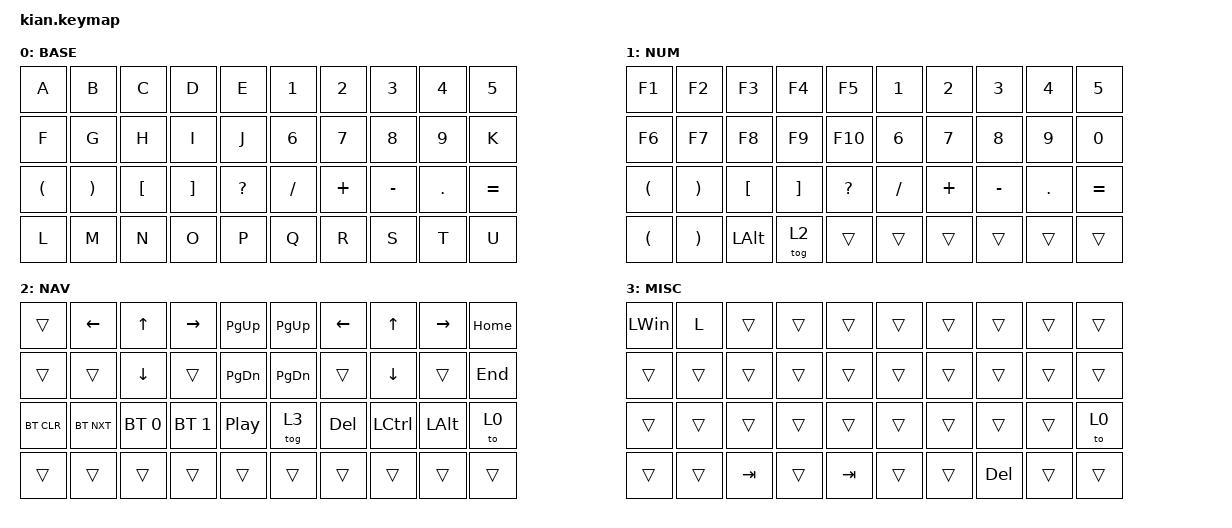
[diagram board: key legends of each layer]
/*
 * Copyright (c) 2020 The ZMK Contributors
 *
 * SPDX-License-Identifier: MIT
 */

#include <behaviors.dtsi>
#include <dt-bindings/zmk/keys.h>
#include <dt-bindings/zmk/bt.h>

#define HOST_OS 2



#define DEFAULT 0
#define NUM     1
#define NAV     2
#define MISC    3




&mt {
    tapping-term-ms = <150>;
    flavor = "tap-preferred";
    };


/ {
    behaviors {
        hm: homerow_mods {
            compatible = "zmk,behavior-hold-tap";
            label = "homerow mods";
            #binding-cells = <2>;
            tapping_term_ms = <200>;
            quick-tap-ms = <0>;
            flavor = "tap-preferred";
            bindings = <&kp>, <&kp>;
            };
        
        ht_hp: ht_hp_mods {
            compatible = "zmk,behavior-hold-tap";
            label = "HT_HP";
            #binding-cells = <2>;
            tapping-term-ms = <250>;
            flavor = "hold-preferred";
            bindings = <&kp>, <&kp>;
            };
        parentheses_chevrons: parentheses_chevrons {
            compatible = "zmk,behavior-mod-morph";
            label = "parentheses_chevrons";
            #binding-cells = <0>;
            bindings = <&parentheses>, <&chevrons>;
            mods = <(MOD_LSFT)>;
            };


        };
    };

/ {
    macros {

            your_macro: your_macro {
            compatible = "zmk,behavior-macro";
            label = "YOUR_MACRO";
            #binding-cells = <0>;
            bindings =
               <&macro_press &kp LSHFT>,
               <&macro_press &kp LGUI>,
               <&macro_tap &kp S>,
               <&macro_release &kp LGUI>,
               <&macro_release &kp LSHFT>;
            };

            macro_par: macro_par {
                label = "macro_par";
                compatible = "zmk,behavior-macro";
                #binding-cells = <0>;
                tap-ms = <10>;
                wait-ms = <10>;
                bindings = <&macro_tap &kp LPAR &kp RPAR &kp LEFT>;
                };

            parentheses: parentheses {
                        label = "parentheses";
                        compatible = "zmk,behavior-macro";
                        #binding-cells = <0>;
                        bindings = <&macro_tap &kp LPAR &kp RPAR &kp LEFT>;
                };

            chevrons: chevrons {
                label = "chevrons";
                compatible = "zmk,behavior-macro";
                #binding-cells = <0>;
                wait-ms = <10>;
                tap-ms = <10>;
                bindings = <&macro_tap &kp LT &kp GT &kp LEFT>;
                };

          };
    };


/ {
    combos {
        compatible = "zmk,combos";
        combo_scrn_shot {
            timeout-ms = <70>;
            key-positions = <0 4>;
            bindings = <&kp LG(LS(S))>;
        };

        combo_scsnip {
            timeout-ms = <70>;
            key-positions = <30 32>;
            bindings = <&kp TAB>;
        };
        combo_bt_clr {
            timeout-ms = <70>;
            key-positions = <14 9>;
            bindings = <&bt BT_CLR>;
        };


        combo_alt_tab {
            timeout-ms = <70>;
            key-positions = <24 5>;
            bindings = <&kp LA(TAB)>;
        };

        combo_Parentheses {
            timeout-ms = <70>;
            key-positions = <0 29>;
            bindings = <&macro_par>;
        };

        combo_bracket_round_l {
            timeout-ms = <70>;
            key-positions = <1 18>;
            bindings = <&kp LPAR>;
        };
        combo_bracket_round_r {
            timeout-ms = <70>;
            key-positions = <1 19>;
            bindings = <&kp RIGHT_PARENTHESIS>;
        };

        combo_parentheses_chevrons {
            timeout-ms = <70>;
            key-positions = <1 29>;
            bindings = <&parentheses_chevrons>;
        };

        combo_bracket_square_l {
            timeout-ms = <70>;
            key-positions = <0 16>;
            bindings = <&kp LBKT>;
        };

        combo_bracket_square_r {
            timeout-ms = <70>;
            key-positions = <0 17>;
            bindings = <&kp RBKT>;
        };
    };

};



                                  // ╭─────────────┬─────────────┬─────────────┬─────────────┬─────────────╮   ╭─────────────┬─────────────┬─────────────┬─────────────┬─────────────╮
                                  //	    0             1             2             3            4                  5             6             7             8             9
                                  // ├─────────────┼─────────────┼─────────────┼─────────────┼─────────────┤   ├─────────────┼─────────────┼─────────────┼─────────────┼─────────────┤
                                  //       10             11            12            13          14                 15            16            17            18            19
                                  // ├─────────────┼─────────────┼─────────────┼─────────────┼─────────────┤   ├─────────────┼─────────────┼─────────────┼─────────────┼─────────────┤
                                  //       20             21            22            23          24                 25            26            27            28            29	
                                  // ╰─────────────┼─────────────┼─────────────┼─────────────┼─────────────┤   ├─────────────┼─────────────┼─────────────┼─────────────┼─────────────╯
                                  //                                    31            31            32                33            34            35
                                  //                             ╰─────────────┴─────────────┴─────────────╯   ╰─────────────┴─────────────┴─────────────╯




/ {
    combos {
        compatible = "zmk,combos";
        combo_scrn_shot {
            timeout-ms = <70>;
            key-positions = <0 4>;
            bindings = <&kp LG(LS(S))>;
        };

        combo_scsnip {
            timeout-ms = <70>;
            key-positions = <1 9>;
            bindings = <&your_macro>;
        };


        combo_alt_tab {
            timeout-ms = <70>;
            key-positions = <24 5>;
            bindings = <&kp LA(TAB)>;
        };

        combo_Parentheses {
            timeout-ms = <70>;
            key-positions = <0 29>;
            bindings = <&macro_par>;
        };

        combo_bracket_round_l {
            timeout-ms = <70>;
            key-positions = <1 18>;
            bindings = <&kp LPAR>;
        };
        combo_bracket_round_r {
            timeout-ms = <70>;
            key-positions = <1 19>;
            bindings = <&kp RIGHT_PARENTHESIS>;
        };

        combo_parentheses_chevrons {
            timeout-ms = <70>;
            key-positions = <1 29>;
            bindings = <&parentheses_chevrons>;
        };

        combo_bracket_square_l {
            timeout-ms = <70>;
            key-positions = <0 16>;
            bindings = <&kp LBKT>;
        };

        combo_bracket_square_r {
            timeout-ms = <70>;
            key-positions = <0 17>;
            bindings = <&kp RBKT>;
        };
    };

};

/ {
    keymap {
            compatible = "zmk,keymap";

            BASE {
                    label = "BASE";
                    bindings = <
                                  // ╭─────────────┬─────────────┬─────────────┬─────────────┬─────────────╮   ╭─────────────┬─────────────┬─────────────┬─────────────┬───────────────────╮
                                           &kp A        &kp B          &kp C        &kp D      &kp E            &kp N1          &kp N2        &kp N3          &kp N4       &kp N5
                                  // ├─────────────┼─────────────┼─────────────┼─────────────┼─────────────┤   ├─────────────┼─────────────┼─────────────┼─────────────┼───────────────────┤
                                        &kp F          &kp G           &kp H       &kp I        &kp J            &kp N6          &kp N7          &kp N8          &kp N9       &kp K
                                  // ├─────────────┼─────────────┼─────────────┼─────────────┼─────────────┤   ├─────────────┼─────────────┼─────────────┼─────────────┼───────────────────┤
                                      &kp LPAR         &kp RPAR       &kp LBKT     &kp RBKT      &kp QMARK         &kp FSLH       &kp PLUS     &kp MINUS     &kp DOT       &kp EQUAL
                                  // ╰─────────────┼─────────────┼─────────────┼─────────────┼─────────────┤   ├─────────────┼─────────────┼─────────────┼─────────────┼───────────────────╯
                                             &kp L        &kp M          &kp N        &kp O      &kp P            &kp Q          &kp R        &kp S          &kp T       &kp U
                                  //                             ╰─────────────┴─────────────┴─────────────╯   ╰─────────────┴─────────────┴─────────────╯
                                >;
                };

            NUM {
                    label = "NUM";
                    bindings = <
                                
                                  // ╭─────────────┬─────────────┬─────────────┬─────────────┬─────────────╮   ╭─────────────┬─────────────┬─────────────┬─────────────┬─────────────╮      
                                          &kp F1        &kp F2        &kp F3        &kp F4        &kp F5           &kp N1         &kp N2       &kp N3        &kp N4        &kp N5
                                  // ├─────────────┼─────────────┼─────────────┼─────────────┼─────────────┤   ├─────────────┼─────────────┼─────────────┼─────────────┼─────────────┤
                                          &kp F6        &kp F7        &kp F8        &kp F9        &kp F10          &kp N6         &kp N7       &kp N8        &kp N9        &kp N0
                                  // ├─────────────┼─────────────┼─────────────┼─────────────┼─────────────┤   ├─────────────┼─────────────┼─────────────┼─────────────┼─────────────┤
                                          &kp LPAR     &kp RPAR       &kp LBKT      &kp RBKT      &kp QMARK        &kp FSLH       &kp PLUS     &kp MINUS     &kp DOT       &kp EQUAL
                                  // ╰─────────────┼─────────────┼─────────────┼─────────────┼─────────────┤   ├─────────────┼─────────────┼─────────────┼─────────────┼─────────────╯
                                          &kp LPAR     &kp RPAR                               &kp LALT      &tog 2        &trans            &trans         &trans       &trans          &trans       &trans
                                  //                             ╰─────────────┴─────────────┴─────────────╯   ╰─────────────┴─────────────┴─────────────╯
                            >;
                };

            NAV {
                    label = "NAV";
                    bindings = <
                                  // ╭─────────────┬─────────────┬─────────────┬─────────────┬─────────────╮   ╭─────────────┬─────────────┬─────────────┬─────────────┬─────────────╮  
                                          &trans       &kp LEFT       &kp UP      &kp RIGHT     &kp PG_UP         &kp PG_UP       &kp LEFT      &kp UP      &kp RIGHT       &kp HOME
                                  // ├─────────────┼─────────────┼─────────────┼─────────────┼─────────────┤   ├─────────────┼─────────────┼─────────────┼─────────────┼─────────────┤
                                          &trans       &trans         &kp DOWN      &trans      &kp PG_DN         &kp PG_DN        &trans        &kp DOWN    &trans          &kp END
                                  // ├─────────────┼─────────────┼─────────────┼─────────────┼─────────────┤   ├─────────────┼─────────────┼─────────────┼─────────────┼─────────────┤
                                        &bt BT_CLR    &bt BT_NXT   &bt BT_SEL 0  &bt BT_SEL 1   &kp C_PP           &tog 3       &kp DELETE     &kp LCTRL   &kp LALT        &to 0
                                  // ╰─────────────┼─────────────┼─────────────┼─────────────┼─────────────┤   ├─────────────┼─────────────┼─────────────┼─────────────┼─────────────╯
                                      &trans       &trans                                &trans        &trans      &trans              &trans        &trans        &trans            &trans       &trans
                                  //                             ╰─────────────┴─────────────┴─────────────╯   ╰─────────────┴─────────────┴─────────────╯
                            >;
                };

            MISC {
                    bindings = <
                                  // ╭─────────────┬─────────────┬─────────────┬─────────────┬─────────────╮   ╭─────────────┬─────────────┬─────────────┬─────────────┬─────────────╮ 
                                         &kp LWIN       &kp L         &trans        &trans       &trans             &trans        &trans        &trans         &trans        &trans 
                                  // ├─────────────┼─────────────┼─────────────┼─────────────┼─────────────┤   ├─────────────┼─────────────┼─────────────┼─────────────┼─────────────┤
                                         &trans          &trans      &trans       &trans       &trans             &trans        &trans        &trans        &trans        &trans 
                                  // ├─────────────┼─────────────┼─────────────┼─────────────┼─────────────┤   ├─────────────┼─────────────┼─────────────┼─────────────┼─────────────┤
                                         &trans         &trans        &trans        &trans       &trans             &trans        &trans        &trans        &trans        &to 0
                                  // ╰─────────────┼─────────────┼─────────────┼─────────────┼─────────────┤   ├─────────────┼─────────────┼─────────────┼─────────────┼─────────────╯
                                         &trans       &trans                             &kp TAB       &trans       &kp TAB            &trans        &trans        &kp DEL                &trans       &trans
                                  //                             ╰─────────────┴─────────────┴─────────────╯   ╰─────────────┴─────────────┴─────────────╯
                            >;
                };
        };
};
